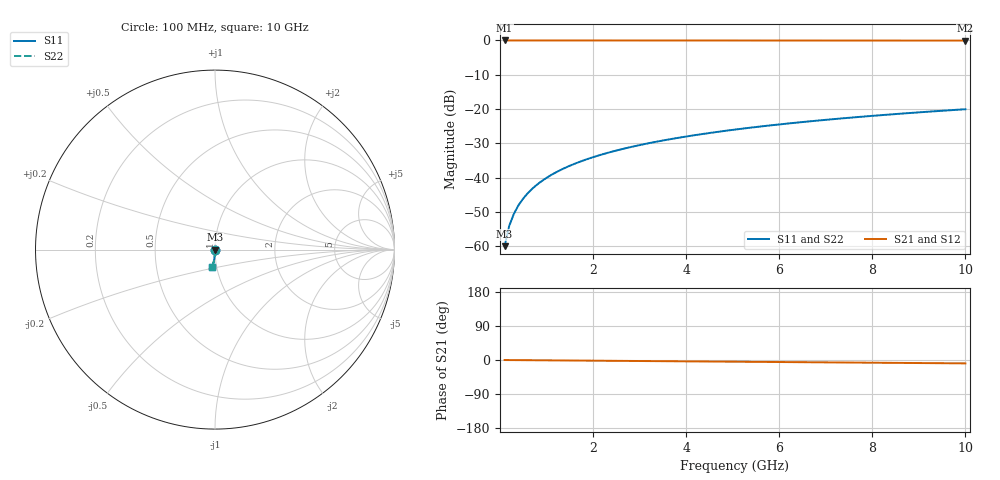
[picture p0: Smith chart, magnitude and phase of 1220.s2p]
# Hz S RI R 50.00
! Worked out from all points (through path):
!   100 points, 100 MHz to 10 GHz, reference 50 ohm
!   highest |S21| = 0.00 dB at 100 MHz (marker M1); lowest = 0.0 dB at 10 GHz (marker M2)
!   group delay of S21, straight-line fit = 2.48 ps
!   lowest |S11| = -60.0 dB at 100 MHz (marker M3), VSWR 1.00, Z = 50 - j0.0993 ohm
!   |S11| at or under -10 dB: start of sweep to end of sweep
!   |S22| runs from -60.0 to -20.1 dB; largest |S21 - S12| = 0
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1e8  0.000135 -0.000992  0.9999 -0.00155  0.9999 -0.00155  0.000135 -0.000992
2e8  0.00013 -0.00198  0.9999 -0.0031  0.9999 -0.0031  0.00013 -0.00198
3e8  0.000122 -0.00298  0.9998 -0.00465  0.9998 -0.00465  0.000122 -0.00298
4e8  0.00011 -0.00397  0.9998 -0.0062  0.9998 -0.0062  0.00011 -0.00397
5e8  9.55e-05 -0.00496  0.9998 -0.00776  0.9998 -0.00776  9.55e-05 -0.00496
6e8  7.78e-05 -0.00595  0.9998 -0.00931  0.9998 -0.00931  7.78e-05 -0.00595
7e8  5.69e-05 -0.00695  0.9998 -0.0109  0.9998 -0.0109  5.69e-05 -0.00695
8e8  3.3e-05 -0.00794  0.9997 -0.0124  0.9997 -0.0124  3.3e-05 -0.00794
9e8  5.9e-06 -0.00893  0.9997 -0.014  0.9997 -0.014  5.9e-06 -0.00893
1.1e9  -5.75e-05 -0.0109  0.9996 -0.0171  0.9996 -0.0171  -5.75e-05 -0.0109
1.4e9  -0.000176 -0.0139  0.9995 -0.0217  0.9995 -0.0217  -0.000176 -0.0139
1.8e9  -0.000377 -0.0179  0.9993 -0.0279  0.9993 -0.0279  -0.000377 -0.0179
2.1e9  -0.000561 -0.0208  0.9991 -0.0326  0.9991 -0.0326  -0.000561 -0.0208
2.5e9  -0.000848 -0.0248  0.9988 -0.0388  0.9988 -0.0388  -0.000848 -0.0248
2.9e9  -0.00119 -0.0288  0.9984 -0.045  0.9984 -0.045  -0.00119 -0.0288
3.4e9  -0.00168 -0.0337  0.9978 -0.0528  0.9978 -0.0528  -0.00168 -0.0337
4.2e9  -0.00262 -0.0416  0.9968 -0.0652  0.9968 -0.0652  -0.00262 -0.0416
5.1e9  -0.00393 -0.0505  0.9954 -0.0791  0.9954 -0.0791  -0.00393 -0.0505
5.9e9  -0.0053 -0.0584  0.9938 -0.0915  0.9938 -0.0915  -0.0053 -0.0584
6.7e9  -0.00686 -0.0663  0.9921 -0.1038  0.9921 -0.1038  -0.00686 -0.0663
8.4e9  -0.0108 -0.0828  0.9877 -0.13  0.9877 -0.13  -0.0108 -0.0828
1e10  -0.0154 -0.0981  0.9827 -0.1544  0.9827 -0.1544  -0.0154 -0.0981
